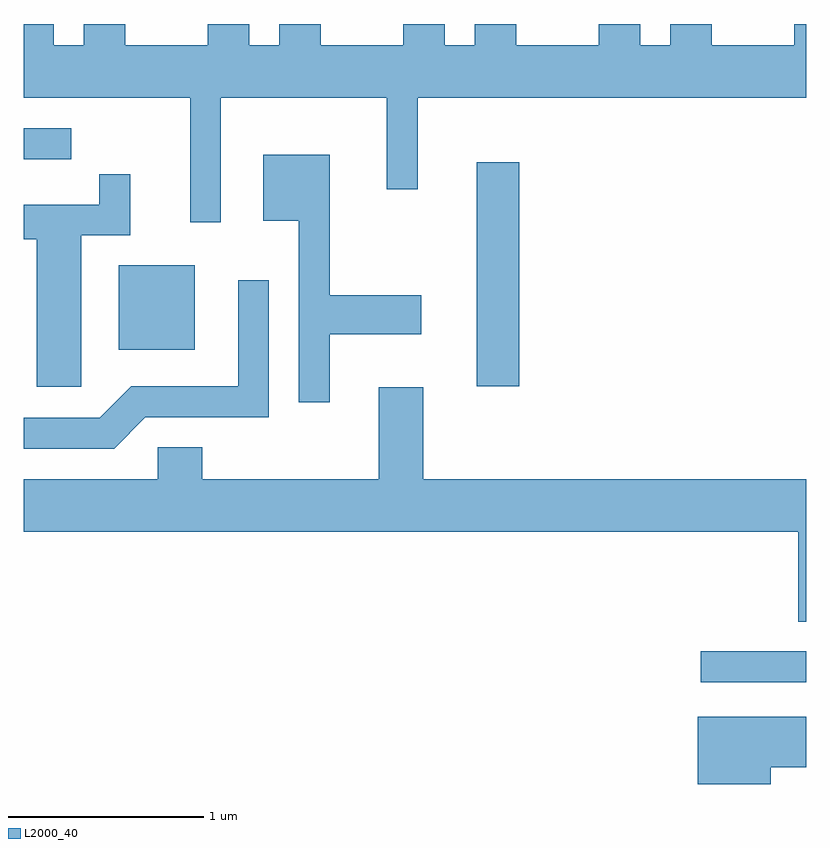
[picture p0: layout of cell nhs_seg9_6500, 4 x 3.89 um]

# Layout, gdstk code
import gdstk
lib = gdstk.Library(unit=1e-6, precision=1e-09)
def R(c, l, rs):  # rectangles x0, y0, x1, y1
    for r in rs: c.add(gdstk.rectangle(r[:2], r[2:], *l))
def P(c, l, *ps):  # polygons
    for p in ps: c.add(gdstk.Polygon(p, *l))
L2000_40 = (2000, 40)

nhs_seg9_6500 = lib.new_cell('nhs_seg9_6500')
R(nhs_seg9_6500, L2000_40, [(381.073,1971.066,381.611,1971.224), (379.926,1972.581,380.144,1973.724), (378.096,1972.766,378.484,1973.199), (377.611,1973.741,377.853,1973.899)])
P(nhs_seg9_6500, L2000_40, [(378.619,1974.056),(379.466,1974.056),(379.466,1973.588),(379.624,1973.588),(379.624,1974.056),(381.611,1974.056),(381.611,1974.432),(381.551,1974.432),(381.551,1974.324),(381.129,1974.324),(381.129,1974.432),(380.916,1974.432),(380.916,1974.324),(380.764,1974.324),(380.764,1974.432),(380.551,1974.432),(380.551,1974.324),(380.129,1974.324),(380.129,1974.432),(379.916,1974.432),(379.916,1974.324),(379.764,1974.324),(379.764,1974.432),(379.551,1974.432),(379.551,1974.324),(379.129,1974.324),(379.129,1974.432),(378.916,1974.432),(378.916,1974.324),(378.764,1974.324),(378.764,1974.432),(378.551,1974.432),(378.551,1974.324),(378.129,1974.324),(378.129,1974.432),(377.916,1974.432),(377.916,1974.324),(377.764,1974.324),(377.764,1974.432),(377.611,1974.432),(377.611,1974.056),(378.461,1974.056),(378.461,1973.418),(378.619,1973.418)],
  [(379.174,1972.846),(379.644,1972.846),(379.644,1973.044),(379.174,1973.044),(379.174,1973.764),(378.836,1973.764),(378.836,1973.426),(379.016,1973.426),(379.016,1972.498),(379.174,1972.498)],
  [(377.904,1973.351),(378.154,1973.351),(378.154,1973.663),(377.996,1973.663),(377.996,1973.509),(377.611,1973.509),(377.611,1973.331),(377.676,1973.331),(377.676,1972.576),(377.904,1972.576)],
  [(378.232,1972.421),(378.864,1972.421),(378.864,1973.123),(378.706,1973.123),(378.706,1972.579),(378.159,1972.579),(377.999,1972.419),(377.611,1972.419),(377.611,1972.261),(378.072,1972.261)],
  [(381.611,1972.104),(379.654,1972.104),(379.654,1972.574),(379.426,1972.574),(379.426,1972.104),(378.524,1972.104),(378.524,1972.269),(378.296,1972.269),(378.296,1972.104),(377.611,1972.104),(377.611,1971.836),(381.571,1971.836),(381.571,1971.376),(381.611,1971.376)],
  [(381.429,1970.631),(381.611,1970.631),(381.611,1970.889),(381.056,1970.889),(381.056,1970.546),(381.429,1970.546)])

lib.write_gds('nhs_seg9_6500.gds')
